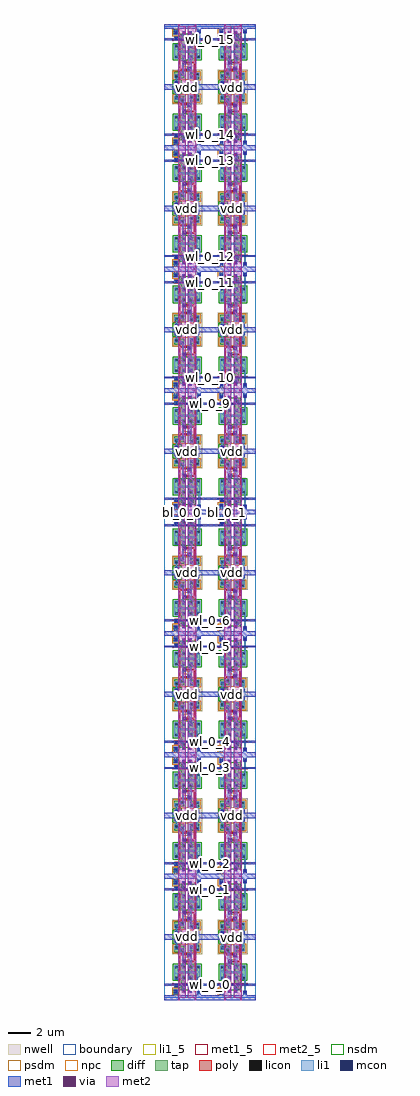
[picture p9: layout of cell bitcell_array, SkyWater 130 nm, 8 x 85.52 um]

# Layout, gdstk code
import gdstk
lib = gdstk.Library(unit=1e-6, precision=1e-09)
def R(c, l, rs):  # rectangles x0, y0, x1, y1
    for r in rs: c.add(gdstk.rectangle(r[:2], r[2:], *l))
nwell = (64, 20)
diff = (65, 20)
tap = (65, 44)
poly = (66, 20)
licon = (66, 44)
li1_5 = (67, 5)
li1 = (67, 20)
mcon = (67, 44)
met1_5 = (68, 5)
met1 = (68, 20)
via = (68, 44)
met2_5 = (69, 5)
met2 = (69, 20)
nsdm = (93, 44)
psdm = (94, 20)
npc = (95, 20)
boundary = (235, 4)

cell_1rw = lib.new_cell('cell_1rw')
R(cell_1rw, nwell, [(0.7,3.82,3.3,5.54)])
R(cell_1rw, diff, [(1.46,0.76,1.88,1.59), (2.15,0.76,2.57,1.59), (0.88,1.59,1.88,2.85), (2.15,1.59,3.15,2.85), (0.88,4,1.73,4.55), (2.21,4.05,3.06,4.6)])
R(cell_1rw, tap, [(0.8,0.32,1.18,0.73), (0.88,4.82,1.41,5.35)])
R(cell_1rw, poly, [(0.88,0.92,1.21,1.1), (0.7,1.1,3.3,1.25), (1.23,1.46,1.38,3.74), (2.65,1.46,2.8,3.09), (1.6,3.02,1.93,3.09), (1.6,3.09,2.8,3.24), (1.6,3.24,1.93,3.35), (2.56,3.24,2.71,4.73), (2.02,3.56,2.35,3.74), (1.23,3.74,2.35,3.89), (1.23,3.89,1.38,4.68)])
R(cell_1rw, licon, [(0.91,0.44,1.08,0.61), (1.63,0.83,1.8,1), (2.23,0.84,2.4,1.01), (0.96,1,1.13,1.17), (0.96,1.67,1.13,1.84), (1.63,1.67,1.8,1.84), (2.23,1.67,2.4,1.84), (2.9,1.67,3.07,1.84), (0.96,2.6,1.13,2.77), (1.63,2.6,1.8,2.77), (2.23,2.6,2.4,2.77), (2.9,2.6,3.07,2.77), (1.68,3.1,1.85,3.27), (2.1,3.64,2.27,3.81), (1.48,4.08,1.65,4.25), (2.81,4.13,2.98,4.3), (0.96,4.3,1.13,4.47), (2.29,4.35,2.46,4.52), (1,4.91,1.17,5.08)])
R(cell_1rw, li1_5, [(1.72,3.14,1.83,3.25), (2.13,3.67,2.24,3.78)])
R(cell_1rw, li1, [(2.98,0.3,3.15,1.59), (0.83,0.35,1.16,0.69), (1.64,0.52,1.81,0.76), (2.15,0.52,2.32,0.76), (1.55,0.76,1.88,1.08), (2.15,0.76,2.48,1.09), (0.88,0.92,1.21,1.25), (0.88,1.59,1.21,2.14), (1.55,1.59,1.88,1.92), (2.15,1.59,2.48,1.92), (2.82,1.59,3.15,2.14), (0.88,2.14,3.15,2.31), (0.88,2.31,1.21,2.85), (2.82,2.31,3.15,2.85), (1.55,2.52,1.88,2.85), (2.15,2.52,2.48,2.85), (1.55,2.85,1.72,3.02), (2.21,2.85,2.38,3.56), (1.55,3.02,1.93,3.35), (1.55,3.35,1.72,4), (2.02,3.56,2.38,3.89), (2.21,3.89,2.38,4.27), (1.4,4,1.73,4.33), (2.73,4.05,3.06,4.38), (0.88,4.22,1.21,4.55), (2.21,4.27,2.54,4.6), (2.81,4.38,2.98,4.83), (0.98,4.55,1.15,4.83), (0.92,4.83,1.25,5.16), (2.74,4.83,3.06,5.16)])
R(cell_1rw, mcon, [(2.98,0.38,3.15,0.55), (0.91,0.44,1.08,0.61), (1.64,0.52,1.81,0.69), (2.15,0.52,2.32,0.69), (0.96,1,1.13,1.17), (1.68,3.1,1.85,3.27), (2.1,3.64,2.27,3.81), (1,4.91,1.17,5.08), (2.81,4.91,2.98,5.08)])
R(cell_1rw, met1_5, [(2.57,-0.05,2.68,0.06), (0.98,1.02,1.09,1.13), (1.81,5.2,2.23,5.4)])
R(cell_1rw, met1, [(0,-0.2,4,0.21), (0,-0.2,4,0.21), (0.85,0.21,1.14,0.68), (2.9,0.21,3.2,0.62), (1.56,0.44,1.88,0.76), (2.07,0.44,2.39,0.76), (0.88,0.92,1.21,1.07), (0.9,1.07,1.19,1.23), (0.9,1.07,1.19,1.23), (1.62,3.04,1.91,3.33), (2.04,3.58,2.33,3.87), (0.92,4.83,1.25,5.09), (2.74,4.83,3.06,5.09), (0,5.09,4,5.54), (0,5.09,4,5.54)])
R(cell_1rw, via, [(1.645,0.525,1.795,0.675), (2.155,0.525,2.305,0.675)])
R(cell_1rw, met2_5, [(1.23,0.51,1.36,0.65), (2.65,0.52,2.78,0.66)])
R(cell_1rw, met2, [(1.23,-0.2,1.37,0.51), (2.65,-0.2,2.79,0.52), (1.56,0.44,1.88,0.51), (2.07,0.44,2.39,0.52), (1.23,0.51,1.88,0.65), (1.23,0.51,1.88,0.65), (2.07,0.52,2.79,0.66), (2.07,0.52,2.79,0.66), (1.23,0.65,1.37,5.54), (1.56,0.65,1.88,0.76), (2.07,0.66,2.39,0.76), (2.65,0.66,2.79,5.54)])
R(cell_1rw, nsdm, [(1.335,0.635,2.695,1.465), (0.755,1.465,3.275,2.975), (0.755,4.695,1.535,5.475)])
R(cell_1rw, psdm, [(0.675,0.195,1.305,0.855), (0.755,3.875,1.855,3.925), (0.755,3.925,3.185,4.675), (2.085,4.675,3.185,4.725)])
R(cell_1rw, npc, [(0.86,0.9,1.23,1.27), (1.58,3,1.95,3.32), (1.58,3.32,2.27,3.37), (1.68,3.37,2.27,3.54), (1.68,3.54,2.37,3.59), (2,3.59,2.37,3.91)])
R(cell_1rw, boundary, [(0,0,4,5.32)])
cell_1rw.add(gdstk.Label('vdd', (2.02,5.3), layer=68, texttype=5))
cell_1rw.add(gdstk.Label('gnd', (2.625,0.005), layer=68, texttype=5))
cell_1rw.add(gdstk.Label('wl', (1.035,1.075), layer=68, texttype=5))
cell_1rw.add(gdstk.Label('q', (1.775,3.195), layer=67, texttype=5))
cell_1rw.add(gdstk.Label('qb', (2.185,3.725), layer=67, texttype=5))
cell_1rw.add(gdstk.Label('br', (2.715,0.59), layer=69, texttype=5))
cell_1rw.add(gdstk.Label('bl', (1.295,0.58), layer=69, texttype=5))
cell_1rw.add(gdstk.Label('bl', (1.555,0.58), layer=69, texttype=20))
cell_1rw.add(gdstk.Label('br', (2.43,0.59), layer=69, texttype=20))
cell_1rw.add(gdstk.Label('wl', (1.045,1.15), layer=68, texttype=20))
cell_1rw.add(gdstk.Label('vdd', (2,5.315), layer=68, texttype=20))
cell_1rw.add(gdstk.Label('gnd', (2,0.005), layer=68, texttype=20))

bitcell_array = lib.new_cell('bitcell_array')
R(bitcell_array, met1, [(0,-0.2,4,0.21), (4,-0.2,8,0.21), (0,1.07,8,1.23), (0,5.09,4,5.54), (4,5.09,8,5.54), (0,5.1,4,5.55), (4,5.1,8,5.55), (0,9.41,8,9.57), (0,10.43,4,10.84), (4,10.43,8,10.84), (0,10.44,4,10.85), (4,10.44,8,10.85), (0,11.71,8,11.87), (0,15.73,4,16.18), (4,15.73,8,16.18), (0,15.74,4,16.19), (4,15.74,8,16.19), (0,20.05,8,20.21), (0,21.07,4,21.48), (4,21.07,8,21.48), (0,21.08,4,21.49), (4,21.08,8,21.49), (0,22.35,8,22.51), (0,26.37,4,26.82), (4,26.37,8,26.82), (0,26.38,4,26.83), (4,26.38,8,26.83), (0,30.69,8,30.85), (0,31.71,4,32.12), (4,31.71,8,32.12), (0,31.72,4,32.13), (4,31.72,8,32.13), (0,32.99,8,33.15), (0,37.01,4,37.46), (4,37.01,8,37.46), (0,37.02,4,37.47), (4,37.02,8,37.47), (0,41.33,8,41.49), (0,42.35,4,42.76), (4,42.35,8,42.76), (0,42.36,4,42.77), (4,42.36,8,42.77), (0,43.63,8,43.79), (0,47.65,4,48.1), (4,47.65,8,48.1), (0,47.66,4,48.11), (4,47.66,8,48.11), (0,51.97,8,52.13), (0,52.99,4,53.4), (4,52.99,8,53.4), (0,53,4,53.41), (4,53,8,53.41), (0,54.27,8,54.43), (0,58.29,4,58.74), (4,58.29,8,58.74), (0,58.3,4,58.75), (4,58.3,8,58.75), (0,62.61,8,62.77), (0,63.63,4,64.04), (4,63.63,8,64.04), (0,63.64,4,64.05), (4,63.64,8,64.05), (0,64.91,8,65.07), (0,68.93,4,69.38), (4,68.93,8,69.38), (0,68.94,4,69.39), (4,68.94,8,69.39), (0,73.25,8,73.41), (0,74.27,4,74.68), (4,74.27,8,74.68), (0,74.28,4,74.69), (4,74.28,8,74.69), (0,75.55,8,75.71), (0,79.57,4,80.02), (4,79.57,8,80.02), (0,79.58,4,80.03), (4,79.58,8,80.03), (0,83.89,8,84.05), (0,84.91,4,85.32), (4,84.91,8,85.32)])
R(bitcell_array, met2, [(1.23,0,1.88,85.12), (2.07,0,2.79,85.12), (5.23,0,5.88,85.12), (6.07,0,6.79,85.12)])
R(bitcell_array, boundary, [(0,0,8,85.12)])
bitcell_array.add(gdstk.Reference(cell_1rw, (0,0)))
bitcell_array.add(gdstk.Reference(cell_1rw, (0,10.64), x_reflection=True))
bitcell_array.add(gdstk.Reference(cell_1rw, (0,10.64)))
bitcell_array.add(gdstk.Reference(cell_1rw, (0,21.28), x_reflection=True))
bitcell_array.add(gdstk.Reference(cell_1rw, (0,21.28)))
bitcell_array.add(gdstk.Reference(cell_1rw, (0,31.92), x_reflection=True))
bitcell_array.add(gdstk.Reference(cell_1rw, (0,31.92)))
bitcell_array.add(gdstk.Reference(cell_1rw, (0,42.56), x_reflection=True))
bitcell_array.add(gdstk.Reference(cell_1rw, (0,42.56)))
bitcell_array.add(gdstk.Reference(cell_1rw, (0,53.2), x_reflection=True))
bitcell_array.add(gdstk.Reference(cell_1rw, (0,53.2)))
bitcell_array.add(gdstk.Reference(cell_1rw, (0,63.84), x_reflection=True))
bitcell_array.add(gdstk.Reference(cell_1rw, (0,63.84)))
bitcell_array.add(gdstk.Reference(cell_1rw, (0,74.48), x_reflection=True))
bitcell_array.add(gdstk.Reference(cell_1rw, (0,74.48)))
bitcell_array.add(gdstk.Reference(cell_1rw, (0,85.12), x_reflection=True))
bitcell_array.add(gdstk.Reference(cell_1rw, (4,0)))
bitcell_array.add(gdstk.Reference(cell_1rw, (4,10.64), x_reflection=True))
bitcell_array.add(gdstk.Reference(cell_1rw, (4,10.64)))
bitcell_array.add(gdstk.Reference(cell_1rw, (4,21.28), x_reflection=True))
bitcell_array.add(gdstk.Reference(cell_1rw, (4,21.28)))
bitcell_array.add(gdstk.Reference(cell_1rw, (4,31.92), x_reflection=True))
bitcell_array.add(gdstk.Reference(cell_1rw, (4,31.92)))
bitcell_array.add(gdstk.Reference(cell_1rw, (4,42.56), x_reflection=True))
bitcell_array.add(gdstk.Reference(cell_1rw, (4,42.56)))
bitcell_array.add(gdstk.Reference(cell_1rw, (4,53.2), x_reflection=True))
bitcell_array.add(gdstk.Reference(cell_1rw, (4,53.2)))
bitcell_array.add(gdstk.Reference(cell_1rw, (4,63.84), x_reflection=True))
bitcell_array.add(gdstk.Reference(cell_1rw, (4,63.84)))
bitcell_array.add(gdstk.Reference(cell_1rw, (4,74.48), x_reflection=True))
bitcell_array.add(gdstk.Reference(cell_1rw, (4,74.48)))
bitcell_array.add(gdstk.Reference(cell_1rw, (4,85.12), x_reflection=True))
bitcell_array.add(gdstk.Label('bl_0_0', (1.555,42.56), layer=69, texttype=20))
bitcell_array.add(gdstk.Label('br_0_0', (2.43,42.56), layer=69, texttype=20))
bitcell_array.add(gdstk.Label('bl_0_1', (5.555,42.56), layer=69, texttype=20))
bitcell_array.add(gdstk.Label('br_0_1', (6.43,42.56), layer=69, texttype=20))
bitcell_array.add(gdstk.Label('wl_0_0', (4,1.15), layer=68, texttype=20))
bitcell_array.add(gdstk.Label('wl_0_1', (4,9.49), layer=68, texttype=20))
bitcell_array.add(gdstk.Label('wl_0_2', (4,11.79), layer=68, texttype=20))
bitcell_array.add(gdstk.Label('wl_0_3', (4,20.13), layer=68, texttype=20))
bitcell_array.add(gdstk.Label('wl_0_4', (4,22.43), layer=68, texttype=20))
bitcell_array.add(gdstk.Label('wl_0_5', (4,30.77), layer=68, texttype=20))
bitcell_array.add(gdstk.Label('wl_0_6', (4,33.07), layer=68, texttype=20))
bitcell_array.add(gdstk.Label('wl_0_7', (4,41.41), layer=68, texttype=20))
bitcell_array.add(gdstk.Label('wl_0_8', (4,43.71), layer=68, texttype=20))
bitcell_array.add(gdstk.Label('wl_0_9', (4,52.05), layer=68, texttype=20))
bitcell_array.add(gdstk.Label('wl_0_10', (4,54.35), layer=68, texttype=20))
bitcell_array.add(gdstk.Label('wl_0_11', (4,62.69), layer=68, texttype=20))
bitcell_array.add(gdstk.Label('wl_0_12', (4,64.99), layer=68, texttype=20))
bitcell_array.add(gdstk.Label('wl_0_13', (4,73.33), layer=68, texttype=20))
bitcell_array.add(gdstk.Label('wl_0_14', (4,75.63), layer=68, texttype=20))
bitcell_array.add(gdstk.Label('wl_0_15', (4,83.97), layer=68, texttype=20))
bitcell_array.add(gdstk.Label('vdd', (2,5.325), layer=68, texttype=20))
bitcell_array.add(gdstk.Label('vdd', (2,5.315), layer=68, texttype=20))
bitcell_array.add(gdstk.Label('vdd', (2,69.165), layer=68, texttype=20))
bitcell_array.add(gdstk.Label('vdd', (6,69.155), layer=68, texttype=20))
bitcell_array.add(gdstk.Label('vdd', (2,37.245), layer=68, texttype=20))
bitcell_array.add(gdstk.Label('vdd', (2,58.525), layer=68, texttype=20))
bitcell_array.add(gdstk.Label('vdd', (6,37.235), layer=68, texttype=20))
bitcell_array.add(gdstk.Label('vdd', (2,47.885), layer=68, texttype=20))
bitcell_array.add(gdstk.Label('vdd', (6,37.245), layer=68, texttype=20))
bitcell_array.add(gdstk.Label('vdd', (2,26.595), layer=68, texttype=20))
bitcell_array.add(gdstk.Label('vdd', (6,79.795), layer=68, texttype=20))
bitcell_array.add(gdstk.Label('vdd', (2,58.515), layer=68, texttype=20))
bitcell_array.add(gdstk.Label('vdd', (6,26.605), layer=68, texttype=20))
bitcell_array.add(gdstk.Label('vdd', (6,15.955), layer=68, texttype=20))
bitcell_array.add(gdstk.Label('vdd', (6,5.315), layer=68, texttype=20))
bitcell_array.add(gdstk.Label('vdd', (2,69.155), layer=68, texttype=20))
bitcell_array.add(gdstk.Label('vdd', (2,15.965), layer=68, texttype=20))
bitcell_array.add(gdstk.Label('vdd', (6,58.515), layer=68, texttype=20))
bitcell_array.add(gdstk.Label('vdd', (6,5.325), layer=68, texttype=20))
bitcell_array.add(gdstk.Label('vdd', (6,69.165), layer=68, texttype=20))
bitcell_array.add(gdstk.Label('vdd', (6,26.595), layer=68, texttype=20))
bitcell_array.add(gdstk.Label('vdd', (6,15.965), layer=68, texttype=20))
bitcell_array.add(gdstk.Label('vdd', (2,26.605), layer=68, texttype=20))
bitcell_array.add(gdstk.Label('vdd', (6,47.885), layer=68, texttype=20))
bitcell_array.add(gdstk.Label('vdd', (2,37.235), layer=68, texttype=20))
bitcell_array.add(gdstk.Label('vdd', (6,47.875), layer=68, texttype=20))
bitcell_array.add(gdstk.Label('vdd', (2,47.875), layer=68, texttype=20))
bitcell_array.add(gdstk.Label('vdd', (6,58.525), layer=68, texttype=20))
bitcell_array.add(gdstk.Label('vdd', (2,79.795), layer=68, texttype=20))
bitcell_array.add(gdstk.Label('vdd', (2,15.955), layer=68, texttype=20))
bitcell_array.add(gdstk.Label('vdd', (6,79.805), layer=68, texttype=20))
bitcell_array.add(gdstk.Label('vdd', (2,79.805), layer=68, texttype=20))
bitcell_array.add(gdstk.Label('gnd', (2,74.475), layer=68, texttype=20))
bitcell_array.add(gdstk.Label('gnd', (6,31.915), layer=68, texttype=20))
bitcell_array.add(gdstk.Label('gnd', (2,85.115), layer=68, texttype=20))
bitcell_array.add(gdstk.Label('gnd', (2,31.915), layer=68, texttype=20))
bitcell_array.add(gdstk.Label('gnd', (6,42.555), layer=68, texttype=20))
bitcell_array.add(gdstk.Label('gnd', (6,10.645), layer=68, texttype=20))
bitcell_array.add(gdstk.Label('gnd', (2,74.485), layer=68, texttype=20))
bitcell_array.add(gdstk.Label('gnd', (6,21.275), layer=68, texttype=20))
bitcell_array.add(gdstk.Label('gnd', (6,31.925), layer=68, texttype=20))
bitcell_array.add(gdstk.Label('gnd', (6,85.115), layer=68, texttype=20))
bitcell_array.add(gdstk.Label('gnd', (2,21.285), layer=68, texttype=20))
bitcell_array.add(gdstk.Label('gnd', (2,53.205), layer=68, texttype=20))
bitcell_array.add(gdstk.Label('gnd', (2,21.275), layer=68, texttype=20))
bitcell_array.add(gdstk.Label('gnd', (6,53.205), layer=68, texttype=20))
bitcell_array.add(gdstk.Label('gnd', (6,74.475), layer=68, texttype=20))
bitcell_array.add(gdstk.Label('gnd', (2,53.195), layer=68, texttype=20))
bitcell_array.add(gdstk.Label('gnd', (6,53.195), layer=68, texttype=20))
bitcell_array.add(gdstk.Label('gnd', (6,63.845), layer=68, texttype=20))
bitcell_array.add(gdstk.Label('gnd', (6,42.565), layer=68, texttype=20))
bitcell_array.add(gdstk.Label('gnd', (2,0.005), layer=68, texttype=20))
bitcell_array.add(gdstk.Label('gnd', (2,63.845), layer=68, texttype=20))
bitcell_array.add(gdstk.Label('gnd', (6,0.005), layer=68, texttype=20))
bitcell_array.add(gdstk.Label('gnd', (2,42.565), layer=68, texttype=20))
bitcell_array.add(gdstk.Label('gnd', (2,31.925), layer=68, texttype=20))
bitcell_array.add(gdstk.Label('gnd', (2,42.555), layer=68, texttype=20))
bitcell_array.add(gdstk.Label('gnd', (2,10.645), layer=68, texttype=20))
bitcell_array.add(gdstk.Label('gnd', (6,63.835), layer=68, texttype=20))
bitcell_array.add(gdstk.Label('gnd', (2,63.835), layer=68, texttype=20))
bitcell_array.add(gdstk.Label('gnd', (6,21.285), layer=68, texttype=20))
bitcell_array.add(gdstk.Label('gnd', (2,10.635), layer=68, texttype=20))
bitcell_array.add(gdstk.Label('gnd', (6,10.635), layer=68, texttype=20))
bitcell_array.add(gdstk.Label('gnd', (6,74.485), layer=68, texttype=20))

lib.write_gds('bitcell_array.gds')
